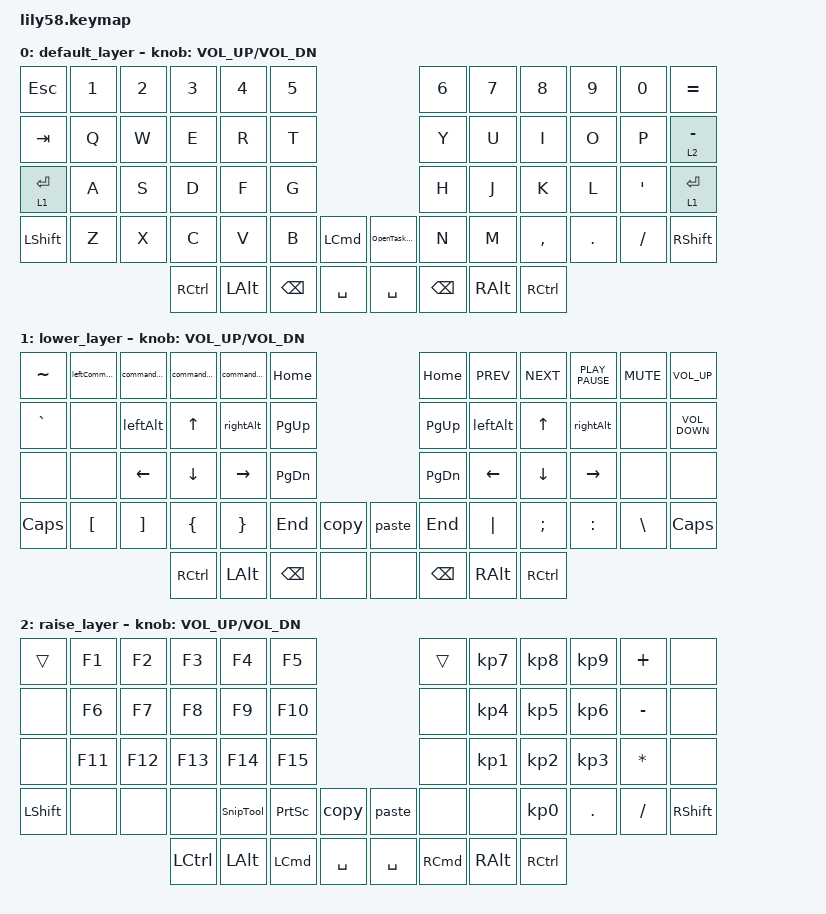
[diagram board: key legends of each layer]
/*
 * Copyright (c) 2020 The ZMK Contributors
 *
 * SPDX-License-Identifier: MIT
 */

#include <behaviors.dtsi>
#include <dt-bindings/zmk/keys.h>

/ {
    macros {
        leftAlt: leftAlt {
            compatible = "zmk,behavior-macro";
            #binding-cells = <0>;
            bindings = <&kp LEFT_ALT &kp LEFT>;
            label = "LEFTALT";
        };

        rightAlt: rightAlt {
            compatible = "zmk,behavior-macro";
            #binding-cells = <0>;
            bindings = <&kp LEFT_ALT &kp RIGHT>;
            label = "RIGHTALT";
        };

        paste: paste {
            compatible = "zmk,behavior-macro";
            #binding-cells = <0>;
            bindings = <&kp LCTRL &kp V>;
            label = "PASTE";
        };

        copy: copy {
            compatible = "zmk,behavior-macro";
            #binding-cells = <0>;
            bindings = <&kp LCTRL &kp C>;
            label = "COPY";
        };

        leftCommandLeftSquareBracket: leftCommandLeftSquareBracket {
            compatible = "zmk,behavior-macro";
            #binding-cells = <0>;
            bindings = <&kp LEFT_COMMAND &kp LEFT_BRACKET>;
            label = "LEFTCOMMANDLEFTSQUAREBRACKET";
        };

        commandAltRightBracket: commandAltRightBracket {
            compatible = "zmk,behavior-macro";
            #binding-cells = <0>;
            bindings = <&kp LEFT_COMMAND &kp RIGHT_BRACKET>;
            label = "COMMANDALTRIGHTBRACKET";
        };

        commandAltLeftCurlyBracket: commandAltLeftCurlyBracket {
            compatible = "zmk,behavior-macro";
            #binding-cells = <0>;
            bindings = <&kp LEFT_COMMAND &kp LEFT_BRACE>;
            label = "COMMANDALTLEFTCURLYBRACKET";
        };

        commandRightCurlyBracket: commandRightCurlyBracket {
            compatible = "zmk,behavior-macro";
            #binding-cells = <0>;
            bindings = <&kp LEFT_COMMAND &kp RIGHT_BRACE>;
            label = "COMMANDRIGHTCURLYBRACKET";
        };

        SnipTool: SnipTool {
            compatible = "zmk,behavior-macro";
            #binding-cells = <0>;
            bindings = <&kp LEFT_COMMAND &kp LEFT_SHIFT &kp S>;
            label = "SNIPTOOL";
        };

        NewTerminal: NewTerminal {
            compatible = "zmk,behavior-macro";
            #binding-cells = <0>;
            bindings = <&kp LCTRL &kp LEFT_ALT &kp T>;
            label = "NEWTERMINAL";
        };

        OpenTaskManager: OpenTaskManager {
            compatible = "zmk,behavior-macro";
            #binding-cells = <0>;
            bindings = <&kp LCTRL &kp LEFT_SHIFT &kp ESC>;
            label = "OPENTASKMANAGER";
            wait-ms = <10>;
            tap-ms = <5>;
        };
    };

    behaviors {
        MomentaryLayerHold: MomentaryLayerHold {
            compatible = "zmk,behavior-hold-tap";
            label = "MOMENTARYLAYERHOLD";
            bindings = <&mo>, <&kp>;

            #binding-cells = <2>;
            tapping-term-ms = <190>;
            flavor = "balanced";
            hold-while-undecided;
        };

        TwoKeys: TwoKeys {
            compatible = "zmk,behavior-hold-tap";
            label = "TWOKEYS";
            bindings = <&kp>, <&kp>;

            #binding-cells = <2>;
            tapping-term-ms = <190>;
            flavor = "tap-preferred";
        };
    };

    keymap {
        compatible = "zmk,keymap";

        default_layer {
            bindings = <
&kp ESC                      &kp N1  &kp N2  &kp N3     &kp N4        &kp N5                                               &kp N6         &kp N7         &kp N8     &kp N9   &kp N0            &kp EQUAL
&kp TAB                      &kp Q   &kp W   &kp E      &kp R         &kp T                                                &kp Y          &kp U          &kp I      &kp O    &kp P             &MomentaryLayerHold 2 MINUS
&MomentaryLayerHold 1 ENTER  &kp A   &kp S   &kp D      &kp F         &kp G                                                &kp H          &kp J          &kp K      &kp L    &kp SINGLE_QUOTE  &MomentaryLayerHold 1 ENTER
&kp LEFT_SHIFT               &kp Z   &kp X   &kp C      &kp V         &kp B          &kp LEFT_COMMAND    &OpenTaskManager  &kp N          &kp M          &kp COMMA  &kp DOT  &kp FSLH          &kp RIGHT_SHIFT
                                             &kp RCTRL  &kp LEFT_ALT  &kp BACKSPACE  &kp SPACE           &kp SPACE         &kp BACKSPACE  &kp RIGHT_ALT  &kp RCTRL
            >;

            sensor-bindings = <&inc_dec_kp C_VOL_UP C_VOL_DN>;
        };

        lower_layer {
            bindings = <
&kp TILDE     &leftCommandLeftSquareBracket  &commandAltRightBracket  &commandAltLeftCurlyBracket  &commandRightCurlyBracket  &kp HOME                        &kp HOME       &kp K_PREV     &kp K_NEXT     &kp K_PLAY_PAUSE  &kp K_MUTE     &kp K_VOLUME_UP
&kp GRAVE     &none                          &leftAlt                 &kp UP_ARROW                 &rightAlt                  &kp PG_UP                       &kp PG_UP      &leftAlt       &kp UP_ARROW   &rightAlt         &none          &kp K_VOLUME_DOWN
&none         &none                          &kp LEFT                 &kp DOWN                     &kp RIGHT                  &kp PAGE_DOWN                   &kp PG_DN      &kp LEFT       &kp DOWN       &kp RIGHT         &none          &none
&kp CAPSLOCK  &kp LEFT_BRACKET               &kp RIGHT_BRACKET        &kp LEFT_BRACE               &kp RIGHT_BRACE            &kp END        &copy    &paste  &kp END        &kp PIPE       &kp SEMICOLON  &kp COLON         &kp BACKSLASH  &kp CAPSLOCK
                                                                      &kp RIGHT_CONTROL            &kp LEFT_ALT               &kp BACKSPACE  &none    &none   &kp BACKSPACE  &kp RIGHT_ALT  &kp RCTRL
            >;

            sensor-bindings = <&inc_dec_kp C_VOL_UP C_VOL_DN>;
        };

        raise_layer {
            bindings = <
&trans          &kp F1   &kp F2   &kp F3            &kp F4        &kp F5                                    &trans             &kp KP_NUMBER_7  &kp KP_NUMBER_8    &kp KP_NUMBER_9  &kp PLUS      &none
&none           &kp F6   &kp F7   &kp F8            &kp F9        &kp F10                                   &none              &kp KP_NUMBER_4  &kp KP_NUMBER_5    &kp KP_NUMBER_6  &kp MINUS     &none
&none           &kp F11  &kp F12  &kp F13           &kp F14       &kp F15                                   &none              &kp KP_NUMBER_1  &kp KP_NUMBER_2    &kp KP_NUMBER_3  &kp ASTERISK  &none
&kp LEFT_SHIFT  &none    &none    &none             &SnipTool     &kp PRINTSCREEN   &copy        &paste     &none              &none            &kp KP_NUMBER_0    &kp PERIOD       &kp SLASH     &kp RIGHT_SHIFT
                                  &kp LEFT_CONTROL  &kp LEFT_ALT  &kp LEFT_COMMAND  &kp SPACE    &kp SPACE  &kp RIGHT_COMMAND  &kp RIGHT_ALT    &kp RIGHT_CONTROL
            >;

            sensor-bindings = <&inc_dec_kp C_VOL_UP C_VOL_DN>;
        };
    };
};
